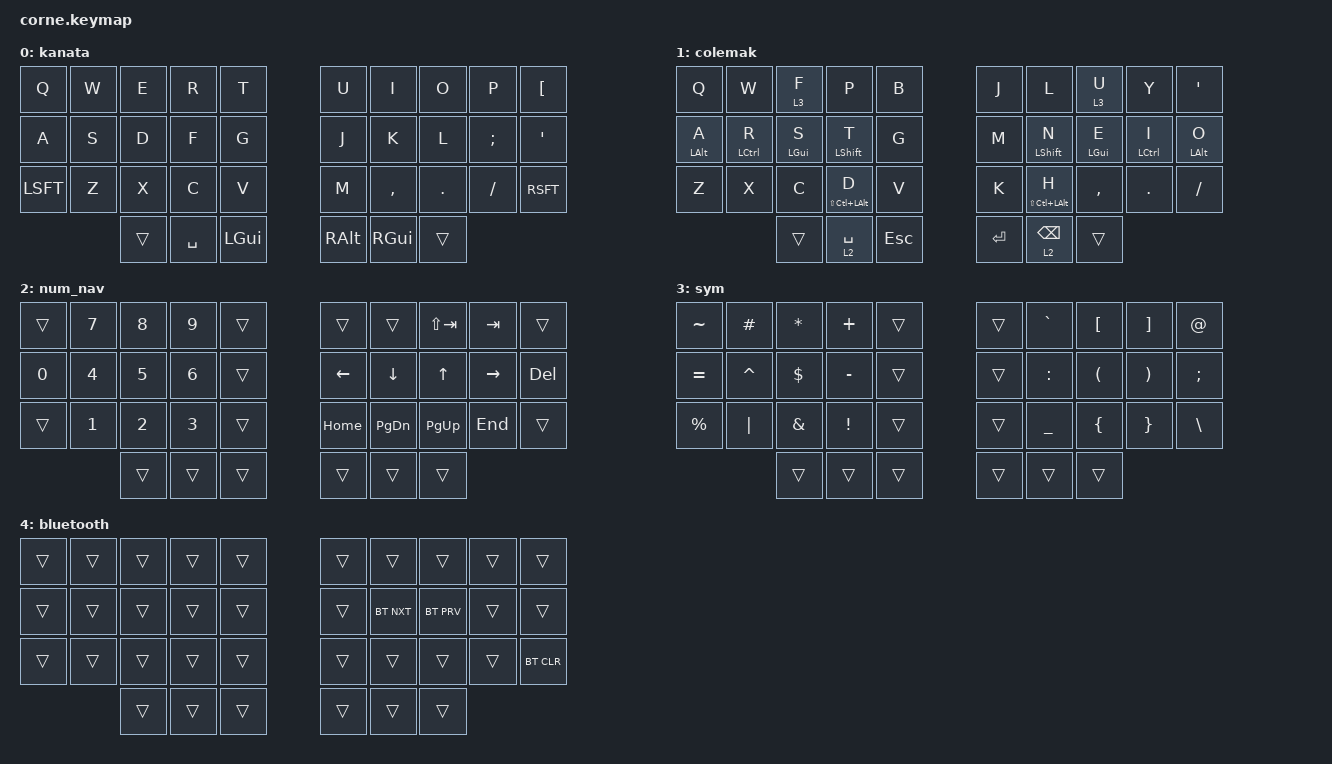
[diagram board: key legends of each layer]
#define ___ &trans

#include <behaviors.dtsi>
#include <dt-bindings/zmk/keys.h>
#include <dt-bindings/zmk/bt.h>

#include <dt-bindings/zmk/pointing.h>
#include <input/processors.dtsi>

/ {
    chosen {
        zmk,physical-layout = &foostan_corne_5col_layout;
    };

    behaviors {
        mod: mod {
            compatible = "zmk,behavior-hold-tap";
            flavor = "balanced";
            bindings = <&kp>, <&kp>;
            #binding-cells = <2>;
            tapping-term-ms = <200>;
        };

        layer: layer {
            compatible = "zmk,behavior-hold-tap";
            flavor = "balanced";
            bindings = <&mo>, <&kp>;
            #binding-cells = <2>;
            tapping-term-ms = <200>;
        };
    };

    combos {
        compatible = "zmk,combos";
        combo_bluetooth {
            timeout-ms = <50>;
            key-positions = <20 21 22 23>;
            bindings = <&mo 2>;
            require-prior-idle-ms = <1000>;
        };
        combo_kanata {
            timeout-ms = <50>;
            key-positions = <26 27 28 29>;
            bindings = <&tog 1>;
            require-prior-idle-ms = <1000>;
        };
    };

    keymap {
        compatible = "zmk,keymap";

        kanata {
            bindings = <
&kp Q               &kp W               &kp E               &kp R               &kp T               &kp U               &kp I               &kp O               &kp P               &kp LBKT
&kp A               &kp S               &kp D               &kp F               &kp G               &kp J               &kp K               &kp L               &kp SEMI            &kp SQT
&kp LSFT            &kp Z               &kp X               &kp C               &kp V               &kp M               &kp COMMA           &kp DOT             &kp FSLH            &kp RSFT
                                        ___                 &kp SPACE           &kp LGUI            &kp RALT            &kp RGUI            ___
            >;
        };

        colemak {
            bindings = <
&kp Q               &kp W               &layer 3 F          &kp P               &kp B               &kp J               &kp L               &layer 3 U          &kp Y               &kp SQT
&mod LALT A         &mod LCTRL R        &mod LGUI S         &mod LSHIFT T       &kp G               &kp M               &mod LSHIFT N       &mod LGUI E         &mod LCTRL I        &mod LALT O
&kp Z               &kp X               &kp C               &mod LS(LC(LALT)) D &kp V               &kp K               &mod LS(LC(LALT)) H &kp COMMA           &kp DOT             &kp FSLH
                                        ___                 &layer 2 SPACE      &kp ESC             &kp RET             &layer 2 BSPC       ___
            >;
        };

        num_nav {
            bindings = <
___                 &kp N7              &kp N8              &kp N9              ___                 ___                 ___                 &kp LS(TAB)         &kp TAB             ___
&kp N0              &kp N4              &kp N5              &kp N6              ___                 &kp LEFT            &kp DOWN            &kp UP              &kp RIGHT           &kp DEL
___                 &kp N1              &kp N2              &kp N3              ___                 &kp HOME            &kp PG_DN           &kp PG_UP           &kp END             ___
                                        ___                 ___                 ___                 ___                 ___                 ___
            >;
        };

        sym {
            bindings = <
&kp TILDE           &kp HASH            &kp STAR            &kp PLUS            ___                 ___                 &kp GRAVE           &kp LBKT            &kp RBKT            &kp AT
&kp EQUAL           &kp CARET           &kp DLLR            &kp MINUS           ___                 ___                 &kp COLON           &kp LPAR            &kp RPAR            &kp SEMI
&kp PRCNT           &kp PIPE            &kp AMPS            &kp EXCL            ___                 ___                 &kp UNDER           &kp LBRC            &kp RBRC            &kp BSLH
                                        ___                 ___                 ___                 ___                 ___                 ___
            >;
        };

        bluetooth {
            bindings = <
___                 ___                 ___                 ___                 ___                 ___                 ___                 ___                 ___                 ___
___                 ___                 ___                 ___                 ___                 ___                 &bt BT_NXT          &bt BT_PRV          ___                 ___
___                 ___                 ___                 ___                 ___                 ___                 ___                 ___                 ___                 &bt BT_CLR
                                        ___                 ___                 ___                 ___                 ___                 ___
            >;
        };
    };
};
